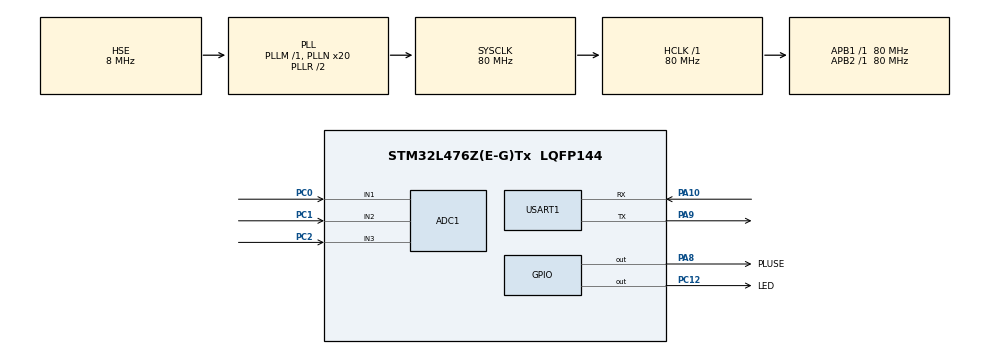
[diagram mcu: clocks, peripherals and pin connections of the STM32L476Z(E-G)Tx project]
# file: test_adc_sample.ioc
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ADC1.Channel-0\#ChannelRegularConversion=ADC_CHANNEL_1
ADC1.ContinuousConvMode=ENABLE
ADC1.DMAContinuousRequests=ENABLE
ADC1.EOCSelection=ADC_EOC_SEQ_CONV
ADC1.Mode=ADC_MODE_INDEPENDENT
ADC1.NbrOfConversion=1
ADC1.NbrOfConversionFlag=1
ADC1.OffsetNumber-0\#ChannelRegularConversion=ADC_OFFSET_NONE
ADC1.Overrun=ADC_OVR_DATA_OVERWRITTEN
ADC1.Rank-0\#ChannelRegularConversion=1
ADC1.SamplingTime-0\#ChannelRegularConversion=ADC_SAMPLETIME_2CYCLES_5
ADC1.master=1
Dma.ADC1.0.Direction=DMA_PERIPH_TO_MEMORY
Dma.ADC1.0.Instance=DMA1_Channel1
Dma.ADC1.0.MemDataAlignment=DMA_MDATAALIGN_HALFWORD
Dma.ADC1.0.MemInc=DMA_MINC_ENABLE
Dma.ADC1.0.Mode=DMA_CIRCULAR
Dma.ADC1.0.PeriphDataAlignment=DMA_PDATAALIGN_HALFWORD
Dma.ADC1.0.PeriphInc=DMA_PINC_DISABLE
Dma.ADC1.0.Priority=DMA_PRIORITY_HIGH
Dma.Request0=ADC1
Mcu.Family=STM32L4
Mcu.Name=STM32L476Z(E-G)Tx
Mcu.Package=LQFP144
NVIC.ADC1_2_IRQn=true\:0\:0\:false\:false\:true\:true\:true
NVIC.DMA1_Channel1_IRQn=true\:0\:0\:false\:false\:true\:false\:true
NVIC.PriorityGroup=NVIC_PRIORITYGROUP_4
PA10.Mode=Asynchronous
PA10.Signal=USART1_RX
PA13\ (JTMS-SWDIO).Mode=Serial_Wire
PA13\ (JTMS-SWDIO).Signal=SYS_JTMS-SWDIO
PA14\ (JTCK-SWCLK).Mode=Serial_Wire
PA14\ (JTCK-SWCLK).Signal=SYS_JTCK-SWCLK
PA8.GPIO_Label=PLUSE
PA8.Signal=GPIO_Output
PA9.Mode=Asynchronous
PA9.Signal=USART1_TX
PC0.Signal=ADCx_IN1
PC1.Signal=ADCx_IN2
PC12.GPIO_Label=LED
PC12.Signal=GPIO_Output
PC2.Signal=ADCx_IN3
PH0-OSC_IN\ (PH0).Mode=HSE-External-Oscillator
PH0-OSC_IN\ (PH0).Signal=RCC_OSC_IN
PH1-OSC_OUT\ (PH1).Mode=HSE-External-Oscillator
PH1-OSC_OUT\ (PH1).Signal=RCC_OSC_OUT
ProjectManager.HeapSize=0x200
ProjectManager.StackSize=0x400
ProjectManager.TargetToolchain=Makefile
RCC.ADCCLockSelection=RCC_ADCCLKSOURCE_SYSCLK
RCC.ADCFreq_Value=80000000
RCC.AHBFreq_Value=80000000
RCC.APB1Freq_Value=80000000
RCC.APB1TimFreq_Value=80000000
RCC.APB2Freq_Value=80000000
RCC.APB2TimFreq_Value=80000000
RCC.CortexFreq_Value=80000000
RCC.HCLKFreq_Value=80000000
RCC.HSE_VALUE=8000000
RCC.HSI_VALUE=16000000
RCC.LSE_VALUE=32768
RCC.MSI_VALUE=4000000
RCC.PLLN=20
RCC.PLLSourceVirtual=RCC_PLLSOURCE_HSE
RCC.SYSCLKFreq_VALUE=80000000
RCC.SYSCLKSource=RCC_SYSCLKSOURCE_PLLCLK
RCC.USBFreq_Value=32000000
RCC.VCOOutputFreq_Value=160000000
SH.ADCx_IN1.0=ADC1_IN1,IN1-Single-Ended
SH.ADCx_IN2.0=ADC1_IN2,IN2-Single-Ended
SH.ADCx_IN3.0=ADC1_IN3,IN3-Single-Ended
USART1.VirtualMode-Asynchronous=VM_ASYNC
board=custom

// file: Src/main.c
/* USER CODE BEGIN Header */
/**
  ******************************************************************************
  * @file           : main.c
  * @brief          : Main program body
  ******************************************************************************
  * @attention
  *
  * <h2><center>&copy; Copyright (c) 2021 STMicroelectronics.
  * All rights reserved.</center></h2>
  *
  * This software component is licensed by ST under BSD 3-Clause license,
  * the "License"; You may not use this file except in compliance with the
  * License. You may obtain a copy of the License at:
  *                        opensource.org/licenses/BSD-3-Clause
  *
  ******************************************************************************
  */
/* USER CODE END Header */
#include "main.h"
#include "adc.h"
#include "dma.h"
#include "usart.h"
#include "gpio.h"

/* USER CODE BEGIN Includes */
#include <stdio.h>
// #include <stdlib.h>
#include <string.h>
/* USER CODE END Includes */

void SystemClock_Config(void);

/* USER CODE BEGIN 0 */
#ifdef __GNUC__
/* With GCC, small printf (option LD Linker->Libraries->Small printf
   set to 'Yes') calls __io_putchar() */
#define PUTCHAR_PROTOTYPE int __io_putchar(int ch)
#else
#define PUTCHAR_PROTOTYPE int fputc(int ch, FILE *f)
#endif /* __GNUC__ */

/**
  * @brief  Retargets the C library printf function to the USART.
  * @param  None
  * @retval None
  */
PUTCHAR_PROTOTYPE
{
  /* Place your implementation of fputc here */
  /* e.g. write a character to the LPUART1 and Loop until the end of transmission */
  HAL_UART_Transmit(&huart1, (uint8_t *)&ch, 1, 0xFFFF);

  return ch;
}

#define SAMPLE_POINT (1000)
typedef struct _adc_point_t
{
    uint16_t phase_A;
    uint16_t phase_B;
    uint16_t phase_C;
} adc_point_t;

adc_point_t ADC_ConvertedValue[SAMPLE_POINT] = {0};

__IO uint8_t dma_done_flag = 0;
/* USER CODE END 0 */

int main(void)
{

  /* MCU Configuration--------------------------------------------------------*/

  /* Reset of all peripherals, Initializes the Flash interface and the Systick. */
  HAL_Init();

  /* Configure the system clock */
  SystemClock_Config();

  /* Initialize all configured peripherals */
  MX_GPIO_Init();
  MX_DMA_Init();
  MX_ADC1_Init();
  MX_USART1_UART_Init();
  /* USER CODE BEGIN 2 */
  HAL_GPIO_WritePin(LED_GPIO_Port, LED_Pin, 0);
  char test_buf[20] = {0};
  static uint16_t i = 0;
  /* USER CODE END 2 */

  /* Infinite loop */
  /* USER CODE BEGIN WHILE */
  ADC_start_sample(ADC_ConvertedValue, SAMPLE_POINT * 3);
  while (1)
  {
    /* USER CODE END WHILE */

    /* USER CODE BEGIN 3 */
    HAL_Delay(1000);
    if (dma_done_flag)
    {
      printf("dma done...\r\n");
    }

    // printf("send data:%d\r\n", i++);
    // printf("helloworld\r\n");
    // printf("lll :%d\r\n", i);
    i++;
    // snprintf(test_buf, sizeof(test_buf), "send data:%d\r\n", i++);
    // HAL_UART_Transmit(&huart1, (uint8_t*)test_buf, strlen(test_buf), 100);
  }
  /* USER CODE END 3 */
}

void SystemClock_Config(void)
{
  RCC_OscInitTypeDef RCC_OscInitStruct = {0};
  RCC_ClkInitTypeDef RCC_ClkInitStruct = {0};

  /** Configure the main internal regulator output voltage
  */
  if (HAL_PWREx_ControlVoltageScaling(PWR_REGULATOR_VOLTAGE_SCALE1) != HAL_OK)
  {
    Error_Handler();
  }
  /** Initializes the RCC Oscillators according to the specified parameters
  * in the RCC_OscInitTypeDef structure.
  */
  RCC_OscInitStruct.OscillatorType = RCC_OSCILLATORTYPE_HSE;
  RCC_OscInitStruct.HSEState = RCC_HSE_ON;
  RCC_OscInitStruct.PLL.PLLState = RCC_PLL_ON;
  RCC_OscInitStruct.PLL.PLLSource = RCC_PLLSOURCE_HSE;
  RCC_OscInitStruct.PLL.PLLM = 1;
  RCC_OscInitStruct.PLL.PLLN = 20;
  RCC_OscInitStruct.PLL.PLLP = RCC_PLLP_DIV7;
  RCC_OscInitStruct.PLL.PLLQ = RCC_PLLQ_DIV2;
  RCC_OscInitStruct.PLL.PLLR = RCC_PLLR_DIV2;
  if (HAL_RCC_OscConfig(&RCC_OscInitStruct) != HAL_OK)
  {
    Error_Handler();
  }
  /** Initializes the CPU, AHB and APB buses clocks
  */
  RCC_ClkInitStruct.ClockType = RCC_CLOCKTYPE_HCLK|RCC_CLOCKTYPE_SYSCLK
                              |RCC_CLOCKTYPE_PCLK1|RCC_CLOCKTYPE_PCLK2;
  RCC_ClkInitStruct.SYSCLKSource = RCC_SYSCLKSOURCE_PLLCLK;
  RCC_ClkInitStruct.AHBCLKDivider = RCC_SYSCLK_DIV1;
  RCC_ClkInitStruct.APB1CLKDivider = RCC_HCLK_DIV1;
  RCC_ClkInitStruct.APB2CLKDivider = RCC_HCLK_DIV1;

  if (HAL_RCC_ClockConfig(&RCC_ClkInitStruct, FLASH_LATENCY_4) != HAL_OK)
  {
    Error_Handler();
  }
}

/* USER CODE BEGIN 4 */
void HAL_ADC_ConvCpltCallback(ADC_HandleTypeDef *hadc)
{
    (void)hadc;
    printf("cplt...\r\n");
    HAL_GPIO_TogglePin(LED_GPIO_Port, LED_Pin);
    dma_done_flag = 1;
}

/* USER CODE END 4 */

void Error_Handler(void)
{
  __disable_irq();
  while (1)
  {
  }
}

/************************ (C) COPYRIGHT STMicroelectronics *****END OF FILE****/
